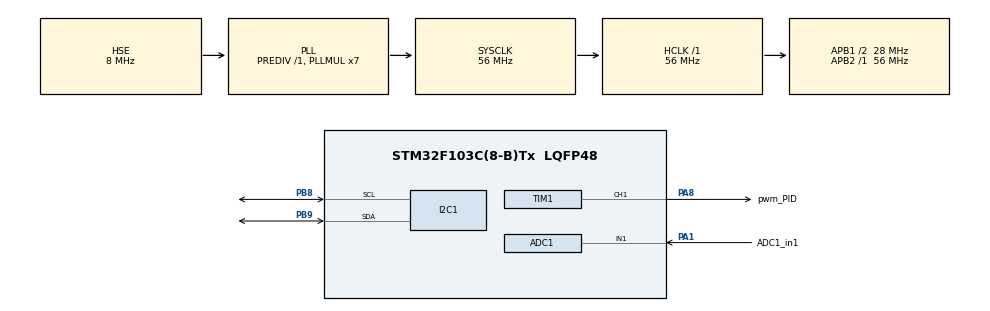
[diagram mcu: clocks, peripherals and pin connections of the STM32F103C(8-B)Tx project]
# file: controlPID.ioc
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Mcu.Family=STM32F1
RCC.PLLSourceVirtual=RCC_PLLSOURCE_HSE
Dma.ADC1.0.Instance=DMA1_Channel1
ADC1.Rank-0\#ChannelRegularConversion=1
PD1-OSC_OUT.Mode=HSE-External-Oscillator
ADC1.ContinuousConvMode=DISABLE
PD0-OSC_IN.Signal=RCC_OSC_IN
RCC.APB1CLKDivider=RCC_HCLK_DIV2
RCC.SYSCLKSource=RCC_SYSCLKSOURCE_PLLCLK
ProjectManager.StackSize=0x400
PD1-OSC_OUT.Signal=RCC_OSC_OUT
RCC.ADCPresc=RCC_ADCPCLK2_DIV4
PA13.Signal=SYS_JTMS-SWDIO
Dma.ADC1.0.PeriphDataAlignment=DMA_PDATAALIGN_WORD
PA8.GPIO_Label=pwm_PID
TIM1.Prescaler=999-1
SH.S_TIM1_CH1.0=TIM1_CH1,PWM Generation1 CH1
ProjectManager.TargetToolchain=STM32CubeIDE
Dma.ADC1.0.Mode=DMA_CIRCULAR
RCC.HCLKFreq_Value=56000000
PB9.Mode=I2C
Dma.ADC1.0.Priority=DMA_PRIORITY_LOW
RCC.APB2TimFreq_Value=56000000
Dma.ADC1.0.Direction=DMA_PERIPH_TO_MEMORY
RCC.USBFreq_Value=56000000
Dma.ADC1.0.MemDataAlignment=DMA_MDATAALIGN_WORD
PA1.Signal=ADCx_IN1
RCC.AHBFreq_Value=56000000
PD0-OSC_IN.Mode=HSE-External-Oscillator
ADC1.Channel-0\#ChannelRegularConversion=ADC_CHANNEL_1
board=custom
RCC.PLLMUL=RCC_PLL_MUL7
RCC.APB2Freq_Value=56000000
TIM1.Channel-PWM\ Generation1\ CH1=TIM_CHANNEL_1
PA14.Mode=Serial_Wire
Dma.ADC1.0.PeriphInc=DMA_PINC_DISABLE
PA1.GPIO_Label=ADC1_in1
PA8.Signal=S_TIM1_CH1
PA13.Mode=Serial_Wire
Mcu.Name=STM32F103C(8-B)Tx
VP_TIM1_VS_ClockSourceINT.Mode=Internal
ADC1.SamplingTime-0\#ChannelRegularConversion=ADC_SAMPLETIME_1CYCLE_5
RCC.SYSCLKFreq_VALUE=56000000
Mcu.Package=LQFP48
PB9.Signal=I2C1_SDA
ADC1.master=1
PA14.Signal=SYS_JTCK-SWCLK
Dma.ADC1.0.MemInc=DMA_MINC_ENABLE
ProjectManager.HeapSize=0x200
NVIC.PriorityGroup=NVIC_PRIORITYGROUP_4
ADC1.NbrOfConversionFlag=1
SH.ADCx_IN1.0=ADC1_IN1,IN1
PB8.Mode=I2C
RCC.APB1TimFreq_Value=56000000
PB8.Signal=I2C1_SCL
TIM1.Period=100-1
NVIC.DMA1_Channel1_IRQn=true\:0\:0\:false\:false\:true\:false\:true
Dma.Request0=ADC1
RCC.APB1Freq_Value=28000000

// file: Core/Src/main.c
/* USER CODE BEGIN Header */
/**
  ******************************************************************************
  * @file           : main.c
  * @brief          : Main program body
  ******************************************************************************
  * @attention
  *
  * <h2><center>&copy; Copyright (c) 2022 STMicroelectronics.
  * All rights reserved.</center></h2>
  *
  * This software component is licensed by ST under BSD 3-Clause license,
  * the "License"; You may not use this file except in compliance with the
  * License. You may obtain a copy of the License at:
  *                        opensource.org/licenses/BSD-3-Clause
  *
  ******************************************************************************
  */
/* USER CODE END Header */
#include "main.h"

/* USER CODE BEGIN Includes */
#include <stdint.h>
#include <stdio.h>
#include "math.h"
#include "i2c-lcd.h"
/* USER CODE END Includes */

/* USER CODE BEGIN PD */
#define termistorNominalRes 100000
#define termistorNominalTemp 25
#define termistorBValue 3950
#define voltageDividerResistor 100000
#define N_SAMPLES_ADC 16
#define	CLEAR_LCD	0x01
/* USER CODE END PD */

ADC_HandleTypeDef hadc1;
DMA_HandleTypeDef hdma_adc1;
I2C_HandleTypeDef hi2c1;
TIM_HandleTypeDef htim1;

void SystemClock_Config(void);
static void MX_GPIO_Init(void);
static void MX_DMA_Init(void);
static void MX_ADC1_Init(void);
static void MX_I2C1_Init(void);
static void MX_TIM1_Init(void);

/* USER CODE BEGIN 0 */

//variables and/temp
uint32_t adc_val = 50;
uint32_t bufferDMA;
uint32_t tempConv;
//uint32_t n_sample_adc = 0;
uint32_t i = 0;
float_t Vsupply = 3.3;
float_t Vout;
float_t R_NTC;
float_t B_param = 3950;
float_t T0 = 298.15;
float_t Temp_K;
float_t Temp_C;
uint32_t tempCint;

//variables control PID
uint32_t PWM_pin;	//esta variable seria el pin por donde sale el PWM controlado
float_t temperature_read; //esta variable vendria a ser la que guarda el resultado de getTemp()
uint32_t set_temperature = 70;
float_t PID_error = 0;
float_t previous_error = 0;
float_t elapsedTime, Time, timePrev;
uint32_t PID_value = 0;

//PID constants
#define kp  9.1
#define ki  0.3
#define kd  1.8
float_t PID_p = 0;
float_t PID_i = 0;
float_t PID_d = 0;

/* USER CODE END 0 */

int main(void)
{

  /* MCU Configuration--------------------------------------------------------*/

  /* Reset of all peripherals, Initializes the Flash interface and the Systick. */
  HAL_Init();

  /* Configure the system clock */
  SystemClock_Config();

  /* Initialize all configured peripherals */
  MX_GPIO_Init();
  MX_DMA_Init();
  MX_ADC1_Init();
  MX_I2C1_Init();
  MX_TIM1_Init();
  /* USER CODE BEGIN 2 */
  lcd_init();
  HAL_TIM_PWM_Start(&htim1, TIM_CHANNEL_1);
  Time = HAL_GetTick();
  /* USER CODE END 2 */

  /* Infinite loop */
  /* USER CODE BEGIN WHILE */
  while (1)
  {
	  controlPID();
//	  HAL_Delay(300);
//	  updateLCD();

//	  lcd_send_cmd(0x80);	//primer linea
//	  lcd_send_string ("CH0- ");  // send string
//	  lcd_send_cmd(0x80|0x40);	//segunda linea
//	  sprintf(val,"%lu C / %lu C",bufferDMA,bufferDMA);
//	  lcd_send_string(val);
//	  HAL_Delay (200); // 200ms delay
/*
	  lcd_send_data ((bufferDMA/1000)+48);  // print the 1000th value of value[0]
	  lcd_send_data (((bufferDMA%1000)/100)+48);  // print the 100th value of value[0]
	  lcd_send_data (((bufferDMA%100)/10)+48);  // print the 10th value of value[0]
	  lcd_send_data (((bufferDMA%10))+48);  // print the 1st value of value[0]
*/

    /* USER CODE END WHILE */

  }
}

void SystemClock_Config(void)
{
  RCC_OscInitTypeDef RCC_OscInitStruct = {0};
  RCC_ClkInitTypeDef RCC_ClkInitStruct = {0};
  RCC_PeriphCLKInitTypeDef PeriphClkInit = {0};

  /** Initializes the RCC Oscillators according to the specified parameters
  * in the RCC_OscInitTypeDef structure.
  */
  RCC_OscInitStruct.OscillatorType = RCC_OSCILLATORTYPE_HSE;
  RCC_OscInitStruct.HSEState = RCC_HSE_ON;
  RCC_OscInitStruct.HSEPredivValue = RCC_HSE_PREDIV_DIV1;
  RCC_OscInitStruct.HSIState = RCC_HSI_ON;
  RCC_OscInitStruct.PLL.PLLState = RCC_PLL_ON;
  RCC_OscInitStruct.PLL.PLLSource = RCC_PLLSOURCE_HSE;
  RCC_OscInitStruct.PLL.PLLMUL = RCC_PLL_MUL7;
  if (HAL_RCC_OscConfig(&RCC_OscInitStruct) != HAL_OK)
  {
    Error_Handler();
  }
  /** Initializes the CPU, AHB and APB buses clocks
  */
  RCC_ClkInitStruct.ClockType = RCC_CLOCKTYPE_HCLK|RCC_CLOCKTYPE_SYSCLK
                              |RCC_CLOCKTYPE_PCLK1|RCC_CLOCKTYPE_PCLK2;
  RCC_ClkInitStruct.SYSCLKSource = RCC_SYSCLKSOURCE_PLLCLK;
  RCC_ClkInitStruct.AHBCLKDivider = RCC_SYSCLK_DIV1;
  RCC_ClkInitStruct.APB1CLKDivider = RCC_HCLK_DIV2;
  RCC_ClkInitStruct.APB2CLKDivider = RCC_HCLK_DIV1;

  if (HAL_RCC_ClockConfig(&RCC_ClkInitStruct, FLASH_LATENCY_2) != HAL_OK)
  {
    Error_Handler();
  }
  PeriphClkInit.PeriphClockSelection = RCC_PERIPHCLK_ADC;
  PeriphClkInit.AdcClockSelection = RCC_ADCPCLK2_DIV4;
  if (HAL_RCCEx_PeriphCLKConfig(&PeriphClkInit) != HAL_OK)
  {
    Error_Handler();
  }
}

static void MX_ADC1_Init(void)
{

  ADC_ChannelConfTypeDef sConfig = {0};

  /** Common config
  */
  hadc1.Instance = ADC1;
  hadc1.Init.ScanConvMode = ADC_SCAN_DISABLE;
  hadc1.Init.ContinuousConvMode = DISABLE;
  hadc1.Init.DiscontinuousConvMode = DISABLE;
  hadc1.Init.ExternalTrigConv = ADC_SOFTWARE_START;
  hadc1.Init.DataAlign = ADC_DATAALIGN_RIGHT;
  hadc1.Init.NbrOfConversion = 1;
  if (HAL_ADC_Init(&hadc1) != HAL_OK)
  {
    Error_Handler();
  }
  /** Configure Regular Channel
  */
  sConfig.Channel = ADC_CHANNEL_1;
  sConfig.Rank = ADC_REGULAR_RANK_1;
  sConfig.SamplingTime = ADC_SAMPLETIME_1CYCLE_5;
  if (HAL_ADC_ConfigChannel(&hadc1, &sConfig) != HAL_OK)
  {
    Error_Handler();
  }

}

static void MX_I2C1_Init(void)
{

  hi2c1.Instance = I2C1;
  hi2c1.Init.ClockSpeed = 100000;
  hi2c1.Init.DutyCycle = I2C_DUTYCYCLE_2;
  hi2c1.Init.OwnAddress1 = 0;
  hi2c1.Init.AddressingMode = I2C_ADDRESSINGMODE_7BIT;
  hi2c1.Init.DualAddressMode = I2C_DUALADDRESS_DISABLE;
  hi2c1.Init.OwnAddress2 = 0;
  hi2c1.Init.GeneralCallMode = I2C_GENERALCALL_DISABLE;
  hi2c1.Init.NoStretchMode = I2C_NOSTRETCH_DISABLE;
  if (HAL_I2C_Init(&hi2c1) != HAL_OK)
  {
    Error_Handler();
  }

}

static void MX_TIM1_Init(void)
{

  TIM_ClockConfigTypeDef sClockSourceConfig = {0};
  TIM_MasterConfigTypeDef sMasterConfig = {0};
  TIM_OC_InitTypeDef sConfigOC = {0};
  TIM_BreakDeadTimeConfigTypeDef sBreakDeadTimeConfig = {0};

  htim1.Instance = TIM1;
  htim1.Init.Prescaler = 999-1;
  htim1.Init.CounterMode = TIM_COUNTERMODE_UP;
  htim1.Init.Period = 100-1;
  htim1.Init.ClockDivision = TIM_CLOCKDIVISION_DIV1;
  htim1.Init.RepetitionCounter = 0;
  htim1.Init.AutoReloadPreload = TIM_AUTORELOAD_PRELOAD_DISABLE;
  if (HAL_TIM_Base_Init(&htim1) != HAL_OK)
  {
    Error_Handler();
  }
  sClockSourceConfig.ClockSource = TIM_CLOCKSOURCE_INTERNAL;
  if (HAL_TIM_ConfigClockSource(&htim1, &sClockSourceConfig) != HAL_OK)
  {
    Error_Handler();
  }
  if (HAL_TIM_PWM_Init(&htim1) != HAL_OK)
  {
    Error_Handler();
  }
  sMasterConfig.MasterOutputTrigger = TIM_TRGO_RESET;
  sMasterConfig.MasterSlaveMode = TIM_MASTERSLAVEMODE_DISABLE;
  if (HAL_TIMEx_MasterConfigSynchronization(&htim1, &sMasterConfig) != HAL_OK)
  {
    Error_Handler();
  }
  sConfigOC.OCMode = TIM_OCMODE_PWM1;
  sConfigOC.Pulse = 0;
  sConfigOC.OCPolarity = TIM_OCPOLARITY_HIGH;
  sConfigOC.OCNPolarity = TIM_OCNPOLARITY_HIGH;
  sConfigOC.OCFastMode = TIM_OCFAST_DISABLE;
  sConfigOC.OCIdleState = TIM_OCIDLESTATE_RESET;
  sConfigOC.OCNIdleState = TIM_OCNIDLESTATE_RESET;
  if (HAL_TIM_PWM_ConfigChannel(&htim1, &sConfigOC, TIM_CHANNEL_1) != HAL_OK)
  {
    Error_Handler();
  }
  sBreakDeadTimeConfig.OffStateRunMode = TIM_OSSR_DISABLE;
  sBreakDeadTimeConfig.OffStateIDLEMode = TIM_OSSI_DISABLE;
  sBreakDeadTimeConfig.LockLevel = TIM_LOCKLEVEL_OFF;
  sBreakDeadTimeConfig.DeadTime = 0;
  sBreakDeadTimeConfig.BreakState = TIM_BREAK_DISABLE;
  sBreakDeadTimeConfig.BreakPolarity = TIM_BREAKPOLARITY_HIGH;
  sBreakDeadTimeConfig.AutomaticOutput = TIM_AUTOMATICOUTPUT_DISABLE;
  if (HAL_TIMEx_ConfigBreakDeadTime(&htim1, &sBreakDeadTimeConfig) != HAL_OK)
  {
    Error_Handler();
  }
  HAL_TIM_MspPostInit(&htim1);

}

static void MX_DMA_Init(void)
{

  /* DMA controller clock enable */
  __HAL_RCC_DMA1_CLK_ENABLE();

  /* DMA interrupt init */
  /* DMA1_Channel1_IRQn interrupt configuration */
  HAL_NVIC_SetPriority(DMA1_Channel1_IRQn, 0, 0);
  HAL_NVIC_EnableIRQ(DMA1_Channel1_IRQn);

}

static void MX_GPIO_Init(void)
{

  /* GPIO Ports Clock Enable */
  __HAL_RCC_GPIOD_CLK_ENABLE();
  __HAL_RCC_GPIOA_CLK_ENABLE();
  __HAL_RCC_GPIOB_CLK_ENABLE();

}

/* USER CODE BEGIN 4 */

//void HAL_ADC_ConvCpltCallback(ADC_HandleTypeDef* hadc)
//{
//
////	  adc_val = bufferDMA;
////	  n_sample_adc++;
//}

float_t getTemp(void)
{

	uint32_t adc_val_average = 0;

	for(uint8_t i = 0 ; i < N_SAMPLES_ADC ; i++)
	{
		HAL_ADC_Start_DMA(&hadc1, &adc_val, 1);	//star in DMA mode and we are reading only 1 channel or 1 word
		adc_val_average += adc_val;
	}
	adc_val_average = (uint32_t)(adc_val_average/N_SAMPLES_ADC);

/*
		Vout = adc_val_average * (3.3/4095);
		R_NTC = (Vout * 100000) / (Vsupply - Vout);
		Temp_K = (T0 * B_param) / (T0 * log(R_NTC / 100000) + B_param);
		Temp_C = Temp_K - 273.15;
		return	Temp_C;
*/

		while(tempNTC100K[i].adc < adc_val_average) i++;

		if(i == NUMTEMPS)	Temp_C = tempNTC100K[i-1].temp;
		else if(i == 0) Temp_C = tempNTC100K[i].temp;
		else
		{
			Temp_C = tempNTC100K[i-1].temp + (adc_val_average - tempNTC100K[i-1].adc) * (float)(tempNTC100K[i].temp - tempNTC100K[i-1].temp) / (float)(tempNTC100K[i].adc - tempNTC100K[i-1].adc);

			//aux = (tempNTC100K[i].temp - tempNTC100K[i-1].temp) / ( tempNTC100K[i].adc - tempNTC100K[i-1].adc);
			//tempC = aux * (adc_val - tempNTC100K[i].adc) + tempNTC100K[i].temp;
		}

		//tempCint = (uint32_t)Temp_C;
		return	Temp_C;

}

void controlPID(void)
{
	temperature_read = getTemp();  // First we read the real value of temperature
	tempConv = (uint32_t)temperature_read;
//	updateLCD();

	PID_error = set_temperature - temperature_read; //Next we calculate the error between the setpoint and the real value
	PID_p = kp * PID_error;   //Calculate the P value
	if((-3 < PID_error ) && ( PID_error < 3 ))	PID_i = PID_i + (ki * PID_error); //Calculate the I value in a range on +-3

	//For derivative we need real time to calculate speed change rate
	timePrev = Time; // the previous time is stored before the actual time read
	Time = HAL_GetTick();	// actual time read
	elapsedTime = (Time - timePrev) / 1000;
	PID_d = kd * ((PID_error - previous_error)/elapsedTime); //Now we can calculate the D value
	PID_value =(uint32_t)(PID_p + PID_i + PID_d); //Final total PID value is the sum of P + I + D

	//We define PWM range between 0 and 255
	if(PID_value < 0) PID_value = 0;
	else if(PID_value > 255)  PID_value = 255;
	updateLCD();
	//Now we can write the PWM signal to the mosfet on digital pin D3
	htim1.Instance->CCR1 = PID_value;
	//ESCRIBE EL VALOR DEL PWM

	previous_error = PID_error;     //Remember to store the previous error for next loop.

}

void updateLCD(void)
{
	char val1[20];
	char val2[20];
	sprintf(val1,"%lu C / %lu C",tempConv,set_temperature);
	sprintf(val2,"%lu",PID_value);
	lcd_send_cmd(0x80|0x00);	//primer linea
	lcd_send_string("T actual / T target");
  	lcd_send_cmd(0x80|0x40);	//segunda linea
  	lcd_send_string(val1);
	lcd_send_cmd(0x80|0x14);	//tercera linea
	lcd_send_string(val2);
	  /*
	  	  lcd_send_cmd(0x80|0x00);	//primer linea
	  	  lcd_send_string("PlasticBot");
	  	  lcd_send_cmd(0x80|0x40);	//segunda linea
	  	  lcd_send_string("v0.1");
	  	  lcd_send_cmd(0x80|0x14);	//tercera linea
	  	  lcd_send_string("TF CESE");
	  	  lcd_send_cmd(0x80|0x54);	//cuarta linea
	  	  lcd_send_string("2022");
	  */
  	HAL_Delay(1000);
  	lcd_send_cmd (CLEAR_LCD);  // clear display
  	HAL_Delay(1);
}
/* USER CODE END 4 */

void Error_Handler(void)
{
  __disable_irq();
  while (1)
  {
  }
}

/************************ (C) COPYRIGHT STMicroelectronics *****END OF FILE****/
